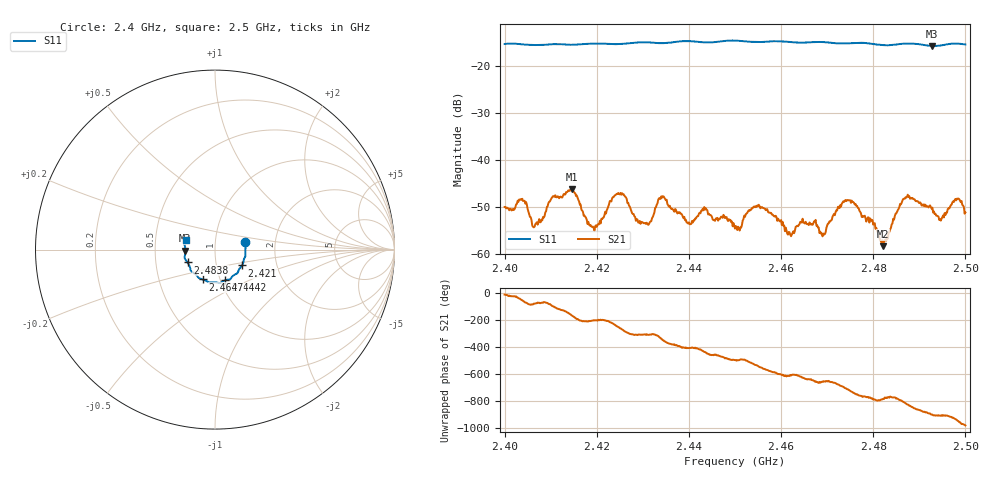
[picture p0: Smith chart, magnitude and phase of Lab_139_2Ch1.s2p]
# Hz S RI R 50
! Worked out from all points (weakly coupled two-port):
!   601 points, 2.4 GHz to 2.5 GHz, reference 50 ohm
!   highest |S21| = -46.20 dB at 2.4147 GHz (marker M1); lowest = -58.4 dB at 2.4822 GHz (marker M2)
!   lowest |S11| = -15.6 dB at 2.4928 GHz (marker M3), VSWR 1.40, Z = 35.8 - j0.383 ohm
!   |S11| at or under -10 dB: start of sweep to end of sweep
!   S12 and S22 are empty: the file has one direction only
!   S11 on the Smith chart (normalised r, x): 2.4 GHz: 1.40, +0.12; 2.421 GHz: 1.33, -0.24; 2.4442 GHz: 1.05, -0.37; 2.4647 GHz: 0.83, -0.29; 2.4838 GHz: 0.73, -0.11; 2.5 GHz: 0.72, +0.08
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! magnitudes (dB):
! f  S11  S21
! 2.4 GHz  -15.2  -50.0
! 2.4038 GHz  -15.3  -48.3
! 2.4067 GHz  -15.4  -53.7
! 2.4147 GHz  -15.4  -46.2
! 2.4167 GHz  -15.3  -50.6
! 2.421 GHz  -15.1  -52.6
! 2.4247 GHz  -15.2  -47.1
! 2.4307 GHz  -14.8  -53.7
! 2.4333 GHz  -15.0  -48.5
! 2.4442 GHz  -14.9  -51.6
! 2.45 GHz  -14.5  -54.7
! 2.4547 GHz  -14.8  -50.0
! 2.4647 GHz  -14.9  -52.6
! 2.4667 GHz  -14.8  -53.7
! 2.4692 GHz  -14.8  -55.7
! 2.4748 GHz  -15.1  -48.6
! 2.4822 GHz  -15.5  -58.4
! 2.4833 GHz  -15.5  -55.6
! 2.4838 GHz  -15.5  -54.5
! 2.4873 GHz  -15.1  -47.8
! 2.4928 GHz  -15.6  -50.2
! 2.5 GHz  -15.3  -51.2
